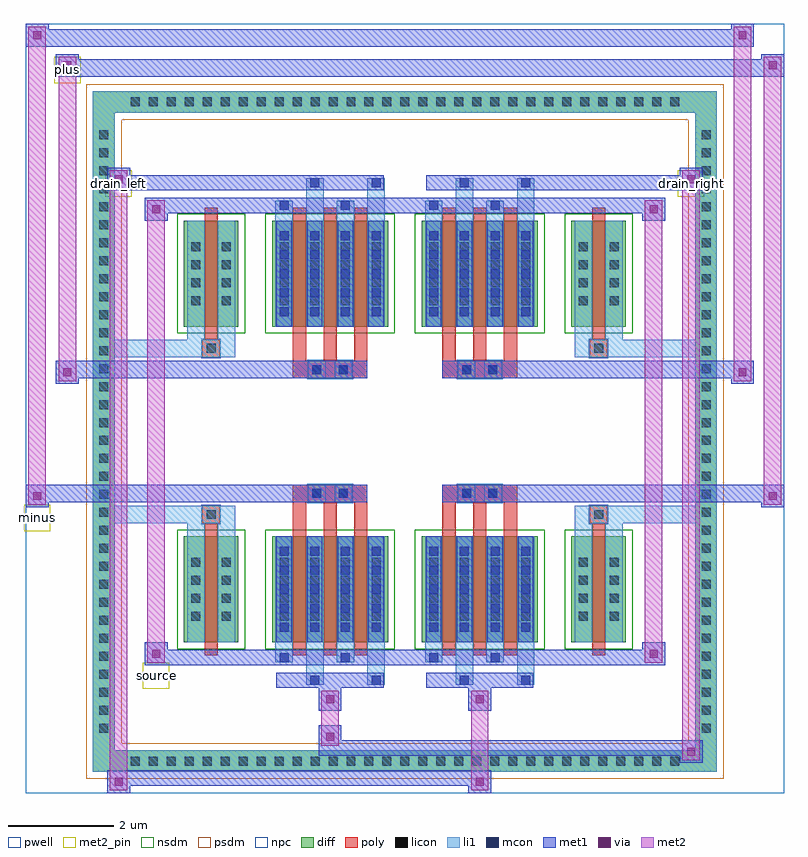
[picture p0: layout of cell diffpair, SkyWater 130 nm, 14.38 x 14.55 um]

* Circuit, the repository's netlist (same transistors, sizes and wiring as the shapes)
* NGSPICE file created from diffpair.ext - technology: sky130A

.subckt diffpair minus drain_right drain_left source plus
X0 source plus drain_left a_n1180_n1288# sky130_fd_pr__nfet_01v8 ad=0.33 pd=2.33 as=0.33 ps=2.33 w=2 l=0.25
X1 drain_left plus source a_n1180_n1288# sky130_fd_pr__nfet_01v8 ad=0.78 pd=4.78 as=0.33 ps=2.33 w=2 l=0.25
X2 a_n1180_n1288# a_n1180_n1288# a_n1180_n1288# a_n1180_n1288# sky130_fd_pr__nfet_01v8 ad=0.78 pd=4.78 as=6.24 ps=38.24 w=2 l=0.25
X3 source minus drain_right a_n1180_n1288# sky130_fd_pr__nfet_01v8 ad=0.33 pd=2.33 as=0.33 ps=2.33 w=2 l=0.25
X4 drain_left plus source a_n1180_n1288# sky130_fd_pr__nfet_01v8 ad=0.78 pd=4.78 as=0.33 ps=2.33 w=2 l=0.25
X5 source minus drain_right a_n1180_n1288# sky130_fd_pr__nfet_01v8 ad=0.33 pd=2.33 as=0.33 ps=2.33 w=2 l=0.25
X6 drain_right minus source a_n1180_n1288# sky130_fd_pr__nfet_01v8 ad=0.33 pd=2.33 as=0.78 ps=4.78 w=2 l=0.25
X7 drain_left plus source a_n1180_n1288# sky130_fd_pr__nfet_01v8 ad=0.33 pd=2.33 as=0.78 ps=4.78 w=2 l=0.25
X8 a_n1180_n1288# a_n1180_n1288# a_n1180_n1288# a_n1180_n1288# sky130_fd_pr__nfet_01v8 ad=0.78 pd=4.78 as=0 ps=0 w=2 l=0.25
X9 drain_right minus source a_n1180_n1288# sky130_fd_pr__nfet_01v8 ad=0.78 pd=4.78 as=0.33 ps=2.33 w=2 l=0.25
X10 drain_right minus source a_n1180_n1288# sky130_fd_pr__nfet_01v8 ad=0.78 pd=4.78 as=0.33 ps=2.33 w=2 l=0.25
X11 drain_right minus source a_n1180_n1288# sky130_fd_pr__nfet_01v8 ad=0.33 pd=2.33 as=0.78 ps=4.78 w=2 l=0.25
X12 a_n1180_n1288# a_n1180_n1288# a_n1180_n1288# a_n1180_n1288# sky130_fd_pr__nfet_01v8 ad=0.78 pd=4.78 as=0 ps=0 w=2 l=0.25
X13 source plus drain_left a_n1180_n1288# sky130_fd_pr__nfet_01v8 ad=0.33 pd=2.33 as=0.33 ps=2.33 w=2 l=0.25
X14 a_n1180_n1288# a_n1180_n1288# a_n1180_n1288# a_n1180_n1288# sky130_fd_pr__nfet_01v8 ad=0.78 pd=4.78 as=0 ps=0 w=2 l=0.25
X15 drain_left plus source a_n1180_n1288# sky130_fd_pr__nfet_01v8 ad=0.33 pd=2.33 as=0.78 ps=4.78 w=2 l=0.25
.ends

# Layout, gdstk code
import gdstk
lib = gdstk.Library(unit=1e-6, precision=5e-09)
def R(c, l, rs):  # rectangles x0, y0, x1, y1
    for r in rs: c.add(gdstk.rectangle(r[:2], r[2:], *l))
def A(c, l, x, y, w, h, nx, ny, dx, dy):  # array of equal rectangles
    R(c, l, [(x+i*dx, y+j*dy, x+i*dx+w, y+j*dy+h) for i in range(nx) for j in range(ny)])
def P(c, l, *ps):  # polygons
    for p in ps: c.add(gdstk.Polygon(p, *l))
pwell = (64, 44)
diff = (65, 20)
poly = (66, 20)
licon = (66, 44)
li1 = (67, 20)
mcon = (67, 44)
met1 = (68, 20)
via = (68, 44)
met2_pin = (69, 16)
met2 = (69, 20)
nsdm = (93, 44)
psdm = (94, 20)
npc = (95, 20)

diffpair = lib.new_cell('diffpair')
R(diffpair, pwell, [(-7.17,-6.84,7.17,7.71), (-4.49,-5.03,-0.01,-0.805), (0.01,-5.03,4.49,-0.805), (-4.49,0.805,-0.01,5.03), (0.01,0.805,4.49,5.03)])
A(diffpair, diff, -5.305, -6.44, 0.41, 0.41, 31, 2, 0.34, 12.47)
A(diffpair, diff, -5.9, -5.815, 0.41, 0.41, 1, 34, 0, 0.34)
A(diffpair, diff, 5.49, -5.815, 0.41, 0.41, 1, 34, 0, 0.34)
R(diffpair, diff, [(-5.305,-6.44,5.305,-6.03), (-5.9,-5.815,-5.49,5.815), (5.49,-5.815,5.9,5.815), (-4.18,-3.985,-3.15,-1.985), (-2.51,-3.985,-0.32,-1.985), (0.32,-3.985,2.51,-1.985), (3.15,-3.985,4.18,-1.985), (-4.18,1.985,-3.15,3.985), (-2.51,1.985,-0.32,3.985), (0.32,1.985,2.51,3.985), (3.15,1.985,4.18,3.985), (-5.305,6.03,5.305,6.44)])
P(diffpair, diff, [(5.9,6.44),(-5.9,6.44),(-5.9,-6.03),(-5.49,-6.03),(-5.49,6.03),(5.49,6.03),(5.49,-6.03),(-5.49,-6.03),(-5.9,-6.03),(-5.9,-6.44),(5.9,-6.44)])
A(diffpair, poly, -2.12, -4.235, 0.25, 2.5, 3, 2, 0.58, 5.97)
A(diffpair, poly, 0.71, -4.235, 0.25, 2.5, 3, 2, 0.58, 5.97)
A(diffpair, poly, -2.12, -1.735, 0.25, 0.4, 3, 2, 0.58, 3.07)
A(diffpair, poly, 0.71, -1.735, 0.25, 0.4, 3, 2, 0.58, 3.07)
R(diffpair, poly, [(-3.79,-4.235,-3.54,-1.735), (3.54,-4.235,3.79,-1.735), (-3.83,-1.735,-3.5,-1.405), (-3.83,-1.735,-3.5,-1.405), (3.5,-1.735,3.83,-1.405), (3.5,-1.735,3.83,-1.405), (-2.12,-1.335,-0.71,-1.005), (-1.83,-1.335,-1.5,-1.005), (-1.33,-1.335,-1,-1.005), (0.71,-1.335,2.12,-1.005), (1,-1.335,1.33,-1.005), (1.5,-1.335,1.83,-1.005), (-2.12,1.005,-0.71,1.335), (-1.83,1.005,-1.5,1.335), (-1.33,1.005,-1,1.335), (0.71,1.005,2.12,1.335), (1,1.005,1.33,1.335), (1.5,1.005,1.83,1.335), (-3.83,1.405,-3.5,1.735), (-3.83,1.405,-3.5,1.735), (3.5,1.405,3.83,1.735), (3.5,1.405,3.83,1.735), (-3.79,1.735,-3.54,4.235), (3.54,1.735,3.79,4.235)])
A(diffpair, licon, -5.185, -6.32, 0.17, 0.17, 31, 2, 0.34, 12.47)
A(diffpair, licon, -5.78, -5.695, 0.17, 0.17, 1, 34, 0, 0.34)
A(diffpair, licon, 5.61, -5.695, 0.17, 0.17, 1, 34, 0, 0.34)
A(diffpair, licon, -4.04, -3.58, 0.17, 0.17, 1, 4, 0, 0.34)
A(diffpair, licon, -3.46, -3.58, 0.17, 0.17, 1, 4, 0, 0.34)
A(diffpair, licon, -2.37, -3.58, 0.17, 0.17, 4, 4, 0.58, 0.34)
A(diffpair, licon, 0.46, -3.58, 0.17, 0.17, 4, 4, 0.58, 0.34)
A(diffpair, licon, 3.29, -3.58, 0.17, 0.17, 1, 4, 0, 0.34)
A(diffpair, licon, 3.87, -3.58, 0.17, 0.17, 1, 4, 0, 0.34)
A(diffpair, licon, -4.04, 2.39, 0.17, 0.17, 1, 4, 0, 0.34)
A(diffpair, licon, -3.46, 2.39, 0.17, 0.17, 1, 4, 0, 0.34)
A(diffpair, licon, -2.37, 2.39, 0.17, 0.17, 4, 4, 0.58, 0.34)
A(diffpair, licon, 0.46, 2.39, 0.17, 0.17, 4, 4, 0.58, 0.34)
A(diffpair, licon, 3.29, 2.39, 0.17, 0.17, 1, 4, 0, 0.34)
A(diffpair, licon, 3.87, 2.39, 0.17, 0.17, 1, 4, 0, 0.34)
R(diffpair, licon, [(-3.75,-1.655,-3.58,-1.485), (3.58,-1.655,3.75,-1.485), (-1.75,-1.255,-1.58,-1.085), (-1.25,-1.255,-1.08,-1.085), (1.08,-1.255,1.25,-1.085), (1.58,-1.255,1.75,-1.085), (-1.75,1.085,-1.58,1.255), (-1.25,1.085,-1.08,1.255), (1.08,1.085,1.25,1.255), (1.58,1.085,1.75,1.255), (-3.75,1.485,-3.58,1.655), (3.58,1.485,3.75,1.655)])
A(diffpair, li1, -5.265, -6.4, 0.33, 0.33, 31, 2, 0.34, 12.47)
A(diffpair, li1, -5.86, -5.775, 0.33, 0.33, 1, 34, 0, 0.34)
A(diffpair, li1, 5.53, -5.775, 0.33, 0.33, 1, 34, 0, 0.34)
A(diffpair, li1, -2.45, -3.985, 0.33, 2, 4, 2, 0.58, 5.97)
A(diffpair, li1, 0.38, -3.985, 0.33, 2, 4, 2, 0.58, 5.97)
A(diffpair, li1, -2.37, -3.79, 0.17, 0.17, 4, 5, 0.58, 0.36)
A(diffpair, li1, -2.37, -3.79, 0.17, 1.61, 4, 2, 0.58, 5.97)
A(diffpair, li1, 0.46, -3.79, 0.17, 0.17, 4, 5, 0.58, 0.36)
A(diffpair, li1, 0.46, -3.79, 0.17, 1.61, 4, 2, 0.58, 5.97)
A(diffpair, li1, -4.12, -3.66, 0.33, 0.33, 1, 4, 0, 0.34)
A(diffpair, li1, -3.54, -3.66, 0.33, 0.33, 1, 4, 0, 0.34)
A(diffpair, li1, -2.45, -3.66, 0.33, 0.33, 4, 4, 0.58, 0.34)
A(diffpair, li1, 0.38, -3.66, 0.33, 0.33, 4, 4, 0.58, 0.34)
A(diffpair, li1, 3.21, -3.66, 0.33, 0.33, 1, 4, 0, 0.34)
A(diffpair, li1, 3.79, -3.66, 0.33, 0.33, 1, 4, 0, 0.34)
A(diffpair, li1, -2.37, 2.18, 0.17, 0.17, 4, 5, 0.58, 0.36)
A(diffpair, li1, 0.46, 2.18, 0.17, 0.17, 4, 5, 0.58, 0.36)
A(diffpair, li1, -4.12, 2.31, 0.33, 0.33, 1, 4, 0, 0.34)
A(diffpair, li1, -3.54, 2.31, 0.33, 0.33, 1, 4, 0, 0.34)
A(diffpair, li1, -2.45, 2.31, 0.33, 0.33, 4, 4, 0.58, 0.34)
A(diffpair, li1, 0.38, 2.31, 0.33, 0.33, 4, 4, 0.58, 0.34)
A(diffpair, li1, 3.21, 2.31, 0.33, 0.33, 1, 4, 0, 0.34)
A(diffpair, li1, 3.79, 2.31, 0.33, 0.33, 1, 4, 0, 0.34)
R(diffpair, li1, [(-5.9,-6.44,-5.49,-6.03), (-5.9,-6.44,-5.49,-6.03), (-5.49,-6.44,5.49,-6.03), (5.49,-6.44,5.9,-6.03), (5.49,-6.44,5.9,-6.03), (-5.9,-6.03,-5.49,6.03), (5.49,-6.03,5.9,6.03), (-1.87,-4.79,-1.54,-3.985), (-1.79,-4.79,-1.62,-4.62), (-0.71,-4.79,-0.38,-3.985), (-0.63,-4.79,-0.46,-4.62), (0.96,-4.79,1.29,-3.985), (1.04,-4.79,1.21,-4.62), (2.12,-4.79,2.45,-3.985), (2.2,-4.79,2.37,-4.62), (-2.45,-4.36,-2.12,-3.985), (-2.37,-4.36,-2.2,-4.19), (-1.29,-4.36,-0.96,-3.985), (-1.21,-4.36,-1.04,-4.19), (0.38,-4.36,0.71,-3.985), (0.46,-4.36,0.63,-4.19), (1.54,-4.36,1.87,-3.985), (1.62,-4.36,1.79,-4.19), (-4.12,-3.985,-3.79,-1.985), (-3.54,-3.985,-3.21,-1.985), (3.21,-3.985,3.54,-1.985), (3.79,-3.985,4.12,-1.985), (-4.12,-1.985,-3.79,-1.405), (-3.54,-1.985,-3.21,-1.405), (3.21,-1.985,3.54,-1.405), (3.79,-1.985,4.12,-1.405), (-5.9,-1.735,-3.83,-1.405), (-4.12,-1.735,-3.83,-1.405), (-3.83,-1.735,-3.5,-1.405), (-3.5,-1.735,-3.21,-1.405), (3.21,-1.735,3.5,-1.405), (3.5,-1.735,3.83,-1.405), (3.5,-1.735,5.9,-1.405), (3.83,-1.735,4.12,-1.405), (-1.83,-1.335,-1.5,-1.005), (-1.33,-1.335,-1,-1.005), (1,-1.335,1.33,-1.005), (1.5,-1.335,1.83,-1.005), (-1.83,1.005,-1.5,1.335), (-1.33,1.005,-1,1.335), (1,1.005,1.33,1.335), (1.5,1.005,1.83,1.335), (-5.9,1.405,-3.83,1.735), (-4.12,1.405,-3.83,1.735), (-4.12,1.405,-3.79,1.985), (-3.83,1.405,-3.5,1.735), (-3.54,1.405,-3.21,1.985), (-3.5,1.405,-3.21,1.735), (3.21,1.405,3.5,1.735), (3.21,1.405,3.54,1.985), (3.5,1.405,3.83,1.735), (3.5,1.405,5.9,1.735), (3.79,1.405,4.12,1.985), (3.83,1.405,4.12,1.735), (-4.12,1.985,-3.79,3.985), (-3.54,1.985,-3.21,3.985), (3.21,1.985,3.54,3.985), (3.79,1.985,4.12,3.985), (-2.45,3.985,-2.12,4.36), (-1.87,3.985,-1.54,4.79), (-1.29,3.985,-0.96,4.36), (-0.71,3.985,-0.38,4.79), (0.38,3.985,0.71,4.36), (0.96,3.985,1.29,4.79), (1.54,3.985,1.87,4.36), (2.12,3.985,2.45,4.79), (-2.37,4.19,-2.2,4.36), (-1.21,4.19,-1.04,4.36), (0.46,4.19,0.63,4.36), (1.62,4.19,1.79,4.36), (-1.79,4.62,-1.62,4.79), (-0.63,4.62,-0.46,4.79), (1.04,4.62,1.21,4.79), (2.2,4.62,2.37,4.79), (-5.9,6.03,-5.49,6.44), (-5.9,6.03,-5.49,6.44), (-5.49,6.03,5.49,6.44), (5.49,6.03,5.9,6.44), (5.49,6.03,5.9,6.44)])
A(diffpair, mcon, -2.37, -3.79, 0.17, 0.17, 4, 5, 0.58, 0.36)
A(diffpair, mcon, 0.46, -3.79, 0.17, 0.17, 4, 5, 0.58, 0.36)
A(diffpair, mcon, -2.37, 2.18, 0.17, 0.17, 4, 5, 0.58, 0.36)
A(diffpair, mcon, 0.46, 2.18, 0.17, 0.17, 4, 5, 0.58, 0.36)
R(diffpair, mcon, [(-1.79,-4.79,-1.62,-4.62), (-0.63,-4.79,-0.46,-4.62), (1.04,-4.79,1.21,-4.62), (2.2,-4.79,2.37,-4.62), (-2.37,-4.36,-2.2,-4.19), (-1.21,-4.36,-1.04,-4.19), (0.46,-4.36,0.63,-4.19), (1.62,-4.36,1.79,-4.19), (-1.75,-1.255,-1.58,-1.085), (-1.25,-1.255,-1.08,-1.085), (1.08,-1.255,1.25,-1.085), (1.58,-1.255,1.75,-1.085), (-1.75,1.085,-1.58,1.255), (-1.25,1.085,-1.08,1.255), (1.08,1.085,1.25,1.255), (1.58,1.085,1.75,1.255), (-2.37,4.19,-2.2,4.36), (-1.21,4.19,-1.04,4.36), (0.46,4.19,0.63,4.36), (1.62,4.19,1.79,4.36), (-1.79,4.62,-1.62,4.79), (-0.63,4.62,-0.46,4.79), (1.04,4.62,1.21,4.79), (2.2,4.62,2.37,4.79)])
A(diffpair, met1, -2.43, -3.985, 0.29, 2, 4, 2, 0.58, 5.97)
A(diffpair, met1, 0.4, -3.985, 0.29, 2, 4, 2, 0.58, 5.97)
A(diffpair, met1, -2.43, -3.85, 0.29, 0.29, 4, 5, 0.58, 0.36)
A(diffpair, met1, 0.4, -3.85, 0.29, 0.29, 4, 5, 0.58, 0.36)
A(diffpair, met1, -2.43, 2.12, 0.29, 0.29, 4, 5, 0.58, 0.36)
A(diffpair, met1, 0.4, 2.12, 0.29, 0.29, 4, 5, 0.58, 0.36)
R(diffpair, met1, [(-5.63,-6.84,-5.2,-6.41), (1.2,-6.84,1.63,-6.41), (-5.63,-6.7,1.63,-6.41), (5.2,-6.27,5.63,-5.84), (-1.63,-6.13,5.63,-5.84), (-1.63,-5.99,-1.2,-5.56), (-1.63,-5.28,-1.2,-4.85), (1.2,-5.28,1.63,-4.85), (-2.43,-4.85,-0.4,-4.56), (-1.85,-4.85,-1.56,-4.56), (-0.69,-4.85,-0.4,-4.56), (0.4,-4.85,2.43,-4.56), (0.98,-4.85,1.27,-4.56), (2.14,-4.85,2.43,-4.56), (-4.92,-4.42,-4.49,-3.99), (-4.92,-4.42,-2.43,-4.13), (-2.43,-4.42,-2.14,-4.13), (-2.43,-4.42,-0.4,-4.13), (-1.27,-4.42,-0.98,-4.13), (-0.4,-4.42,0.4,-4.13), (0.4,-4.42,0.69,-4.13), (0.4,-4.42,2.43,-4.13), (1.56,-4.42,1.85,-4.13), (2.43,-4.42,4.92,-4.13), (4.49,-4.42,4.92,-3.99), (-7.17,-1.435,-6.74,-1.005), (6.74,-1.435,7.17,-1.005), (-7.17,-1.335,-0.71,-1.005), (-2.12,-1.335,-0.71,-1.005), (0.71,-1.335,2.12,-1.005), (0.71,-1.335,7.17,-1.005), (-1.81,-1.315,-1.52,-1.025), (-1.31,-1.315,-1.02,-1.025), (1.02,-1.315,1.31,-1.025), (1.52,-1.315,1.81,-1.025), (-6.6,0.905,-6.17,1.335), (6.17,0.905,6.6,1.335), (-6.6,1.005,-2.12,1.335), (-2.12,1.005,-0.71,1.335), (0.71,1.005,2.12,1.335), (2.12,1.005,6.6,1.335), (-1.81,1.025,-1.52,1.315), (-1.31,1.025,-1.02,1.315), (1.02,1.025,1.31,1.315), (1.52,1.025,1.81,1.315), (-4.92,3.99,-4.49,4.42), (4.49,3.99,4.92,4.42), (-4.92,4.13,-2.43,4.42), (-2.43,4.13,-2.14,4.42), (-2.43,4.13,-0.4,4.42), (-1.27,4.13,-0.98,4.42), (-0.4,4.13,0.4,4.42), (0.4,4.13,0.69,4.42), (0.4,4.13,2.43,4.42), (1.56,4.13,1.85,4.42), (2.43,4.13,4.92,4.42), (-5.63,4.56,-5.2,4.99), (-5.63,4.56,-2.43,4.85), (-2.43,4.56,-0.4,4.85), (-1.85,4.56,-1.56,4.85), (-0.69,4.56,-0.4,4.85), (0.4,4.56,2.43,4.85), (0.98,4.56,1.27,4.85), (2.14,4.56,2.43,4.85), (2.43,4.56,5.63,4.85), (5.2,4.56,5.63,4.99), (-6.6,6.71,-6.17,7.14), (-6.6,6.71,-4.49,7.04), (-4.49,6.71,4.49,7.04), (4.49,6.71,7.17,7.04), (6.74,6.71,7.17,7.14), (-7.17,7.28,-6.74,7.71), (-7.17,7.28,-4.49,7.61), (-4.49,7.28,4.49,7.61), (4.49,7.28,6.6,7.61), (6.17,7.28,6.6,7.71)])
R(diffpair, via, [(-5.49,-6.7,-5.34,-6.55), (1.34,-6.7,1.49,-6.55), (5.34,-6.13,5.49,-5.98), (-1.49,-5.85,-1.34,-5.7), (-1.49,-5.14,-1.34,-4.99), (1.34,-5.14,1.49,-4.99), (-4.78,-4.28,-4.63,-4.13), (4.63,-4.28,4.78,-4.13), (-7.03,-1.295,-6.88,-1.145), (6.88,-1.295,7.03,-1.145), (-6.46,1.045,-6.31,1.195), (6.31,1.045,6.46,1.195), (-4.78,4.13,-4.63,4.28), (4.63,4.13,4.78,4.28), (-5.49,4.7,-5.34,4.85), (5.34,4.7,5.49,4.85), (-6.46,6.85,-6.31,7), (6.88,6.85,7.03,7), (-7.03,7.42,-6.88,7.57), (6.31,7.42,6.46,7.57)])
R(diffpair, met2_pin, [(-4.955,-4.87,-4.455,-4.37), (-7.205,-1.885,-6.705,-1.385), (-5.665,4.44,-5.165,4.94), (5.165,4.44,5.665,4.94), (-6.635,6.59,-6.135,7.09)])
R(diffpair, met2, [(-5.58,-6.79,-5.25,-6.46), (-5.58,-6.79,-5.25,4.94), (1.25,-6.79,1.58,-6.46), (1.25,-6.46,1.58,-5.23), (5.25,-6.22,5.58,-5.89), (5.25,-6.22,5.58,4.94), (-1.58,-5.94,-1.25,-5.61), (-1.58,-5.61,-1.25,-5.23), (-1.58,-5.23,-1.25,-4.9), (1.25,-5.23,1.58,-4.9), (-4.87,-4.37,-4.54,-4.04), (-4.87,-4.37,-4.54,4.37), (4.54,-4.37,4.87,-4.04), (4.54,-4.37,4.87,4.37), (-7.12,-1.385,-6.79,-1.055), (-7.12,-1.385,-6.79,7.66), (6.79,-1.385,7.12,-1.055), (6.79,-1.385,7.12,7.09), (-6.55,0.955,-6.22,1.285), (-6.55,0.955,-6.22,7.09), (6.22,0.955,6.55,1.285), (6.22,0.955,6.55,7.66), (-4.87,4.04,-4.54,4.37), (4.54,4.04,4.87,4.37), (-5.58,4.61,-5.25,4.94), (5.25,4.61,5.58,4.94), (-6.55,6.76,-6.22,7.09), (6.79,6.76,7.12,7.09), (-7.12,7.33,-6.79,7.66), (6.22,7.33,6.55,7.66)])
P(diffpair, met2, [(7.12,-1.385),(7.12,-1.385),(7.12,-1.055),(7.12,-1.055)],
  [(7.12,6.76),(7.12,6.76),(7.12,7.09),(7.12,7.09)],
  [(-6.79,-1.385),(-6.79,-1.385),(-6.79,-1.055),(-6.79,-1.055)],
  [(-6.79,7.33),(-6.79,7.33),(-6.79,7.66),(-6.79,7.66)],
  [(6.55,0.955),(6.55,0.955),(6.55,1.285),(6.55,1.285)],
  [(6.55,7.33),(6.55,7.33),(6.55,7.66),(6.55,7.66)],
  [(-6.22,0.955),(-6.22,0.955),(-6.22,1.285),(-6.22,1.285)],
  [(-6.22,6.76),(-6.22,6.76),(-6.22,7.09),(-6.22,7.09)],
  [(-5.25,-6.79),(-5.25,-6.79),(-5.25,-6.46),(-5.25,-6.46)],
  [(-5.25,4.61),(-5.25,4.61),(-5.25,4.94),(-5.25,4.94)],
  [(5.58,-6.22),(5.58,-6.22),(5.58,-5.89),(5.58,-5.89)],
  [(5.58,4.61),(5.58,4.61),(5.58,4.94),(5.58,4.94)],
  [(-4.54,-4.37),(-4.54,-4.37),(-4.54,-4.04),(-4.54,-4.04)],
  [(-4.54,4.04),(-4.54,4.04),(-4.54,4.37),(-4.54,4.37)],
  [(4.87,-4.37),(4.87,-4.37),(4.87,-4.04),(4.87,-4.04)],
  [(4.87,4.04),(4.87,4.04),(4.87,4.37),(4.87,4.37)])
R(diffpair, nsdm, [(-4.31,-4.115,-3.02,-1.855), (-2.64,-4.115,-0.19,-1.855), (0.19,-4.115,2.64,-1.855), (3.02,-4.115,4.31,-1.855), (-4.31,1.855,-3.02,4.115), (-2.64,1.855,-0.19,4.115), (0.19,1.855,2.64,4.115), (3.02,1.855,4.31,4.115)])
P(diffpair, psdm, [(6.03,6.57),(-6.03,6.57),(-6.03,-5.9),(-5.36,-5.9),(-5.36,5.9),(5.36,5.9),(5.36,-5.9),(-5.36,-5.9),(-6.03,-5.9),(-6.03,-6.57),(6.03,-6.57)])
R(diffpair, npc, [(-3.85,-1.755,-3.48,-1.385), (3.48,-1.755,3.85,-1.385), (-1.85,-1.355,-1.48,-0.985), (-1.85,-1.355,-0.98,-0.985), (-1.85,-1.355,-0.98,-0.985), (-1.35,-1.355,-0.98,-0.985), (0.98,-1.355,1.35,-0.985), (0.98,-1.355,1.85,-0.985), (0.98,-1.355,1.85,-0.985), (1.48,-1.355,1.85,-0.985), (-1.85,0.985,-1.48,1.355), (-1.85,0.985,-0.98,1.355), (-1.85,0.985,-0.98,1.355), (-1.35,0.985,-0.98,1.355), (0.98,0.985,1.35,1.355), (0.98,0.985,1.85,1.355), (0.98,0.985,1.85,1.355), (1.48,0.985,1.85,1.355), (-3.85,1.385,-3.48,1.755), (3.48,1.385,3.85,1.755)])
diffpair.add(gdstk.Label('minus', (-6.955,-1.635), layer=69, texttype=5))
diffpair.add(gdstk.Label('drain_right', (5.415,4.69), layer=69, texttype=5))
diffpair.add(gdstk.Label('drain_left', (-5.415,4.69), layer=69, texttype=5))
diffpair.add(gdstk.Label('source', (-4.705,-4.62), layer=69, texttype=5))
diffpair.add(gdstk.Label('plus', (-6.385,6.84), layer=69, texttype=5))

lib.write_gds('diffpair.gds')
